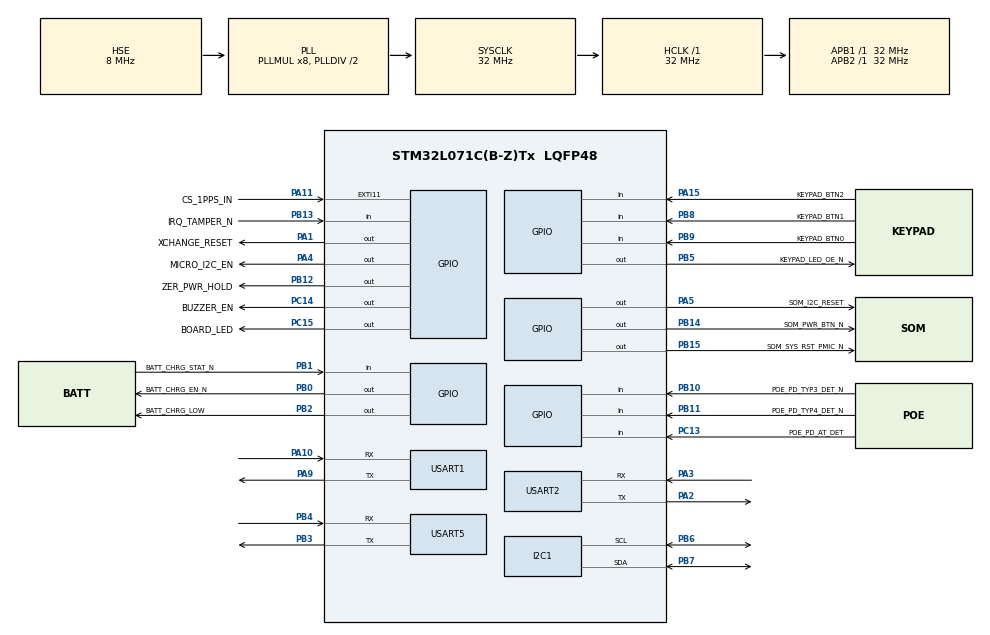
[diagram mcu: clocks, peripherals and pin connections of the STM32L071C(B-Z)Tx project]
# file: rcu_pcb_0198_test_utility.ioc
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ADC.ClockPrescaler=ADC_CLOCK_SYNC_PCLK_DIV4
ADC.ContinuousConvMode=DISABLE
ADC.DiscontinuousConvMode=DISABLE
ADC.EOCSelection=ADC_EOC_SINGLE_CONV
ADC.SamplingTime=ADC_SAMPLETIME_160CYCLES_5
ADC.ScanConvMode=ADC_SCAN_DIRECTION_FORWARD
FREERTOS.Queues01=serialCmdTaskRxData,128,uint32_t,0,Dynamic,NULL,NULL;serialCmdTaskTxData,512,uint32_t,0,Dynamic,NULL,NULL;serialRxEvent,128,uint32_t,0,Dynamic,NULL,NULL;serialEchoTaskRxData1,128,uint32_t,0,Dynamic,NULL,NULL;serialEchoTaskTxData1,8,uint32_t,0,Dynamic,NULL,NULL;serialEchoTaskRxData2,16,uint32_t,0,Dynamic,NULL,NULL;serialEchoTaskTxData2,128,uint32_t,0,Dynamic,NULL,NULL
FREERTOS.Tasks01=defaultTask,0,128,StartDefaultTask,Default,NULL,Dynamic,NULL,NULL;serialBufferTask,0,256,sbt_SerialBufferTask,As external,NULL,Dynamic,NULL,NULL;serialCmdTask,0,513,sct_SerialCmdTask,As external,NULL,Dynamic,NULL,NULL;serialEchoTask,-2,236,set_SerialEchoTask,As external,NULL,Dynamic,NULL,NULL
FREERTOS.configMAX_TASK_NAME_LEN=32
FREERTOS.configTOTAL_HEAP_SIZE=12000
I2C1.Timing=0x00707CBB
Mcu.Family=STM32L0
Mcu.Name=STM32L071C(B-Z)Tx
Mcu.Package=LQFP48
NVIC.EXTI4_15_IRQn=true\:3\:0\:true\:false\:true\:false\:true\:true
NVIC.TIM22_IRQn=true\:0\:0\:false\:false\:true\:false\:false\:true
NVIC.TimeBase=TIM22_IRQn
NVIC.TimeBaseIP=TIM22
NVIC.USART1_IRQn=true\:3\:0\:true\:false\:true\:false\:true\:true
NVIC.USART2_IRQn=true\:3\:0\:true\:false\:true\:false\:true\:true
NVIC.USART4_5_IRQn=true\:3\:0\:true\:false\:true\:false\:true\:true
PA1.GPIO_Label=XCHANGE_RESET
PA1.Signal=GPIO_Output
PA10.Mode=Asynchronous
PA10.Signal=USART1_RX
PA11.GPIO_Label=CS_1PPS_IN
PA11.Signal=GPXTI11
PA13.Mode=Serial_Wire
PA13.Signal=SYS_SWDIO
PA14.Mode=Serial_Wire
PA14.Signal=SYS_SWCLK
PA15.GPIO_Label=KEYPAD_BTN2
PA15.Signal=GPIO_Input
PA2.Mode=Asynchronous
PA2.Signal=USART2_TX
PA3.Mode=Asynchronous
PA3.Signal=USART2_RX
PA4.GPIO_Label=MICRO_I2C_EN
PA4.Signal=GPIO_Output
PA5.GPIO_Label=SOM_I2C_RESET
PA5.Signal=GPIO_Output
PA9.Mode=Asynchronous
PA9.Signal=USART1_TX
PB0.GPIO_Label=BATT_CHRG_EN_N
PB0.Signal=GPIO_Output
PB1.GPIO_Label=BATT_CHRG_STAT_N
PB1.Signal=GPIO_Input
PB10.GPIO_Label=POE_PD_TYP3_DET_N
PB10.Signal=GPIO_Input
PB11.GPIO_Label=POE_PD_TYP4_DET_N
PB11.Signal=GPIO_Input
PB12.GPIO_Label=ZER_PWR_HOLD
PB12.Signal=GPIO_Output
PB13.GPIO_Label=IRQ_TAMPER_N
PB13.Signal=GPIO_Input
PB14.GPIO_Label=SOM_PWR_BTN_N
PB14.PinState=GPIO_PIN_RESET
PB14.Signal=GPIO_Output
PB15.GPIO_Label=SOM_SYS_RST_PMIC_N
PB15.PinState=GPIO_PIN_RESET
PB15.Signal=GPIO_Output
PB2.GPIO_Label=BATT_CHRG_LOW
PB2.PinState=GPIO_PIN_SET
PB2.Signal=GPIO_Output
PB3.Mode=Asynchronous
PB3.Signal=USART5_TX
PB4.Mode=Asynchronous
PB4.Signal=USART5_RX
PB5.GPIO_Label=KEYPAD_LED_OE_N
PB5.PinState=GPIO_PIN_SET
PB5.Signal=GPIO_Output
PB6.Mode=I2C
PB6.Signal=I2C1_SCL
PB7.Mode=I2C
PB7.Signal=I2C1_SDA
PB8.GPIO_Label=KEYPAD_BTN1
PB8.Signal=GPIO_Input
PB9.GPIO_Label=KEYPAD_BTN0
PB9.Signal=GPIO_Input
PC13.GPIO_Label=POE_PD_AT_DET
PC13.Signal=GPIO_Input
PC14-OSC32_IN.GPIO_Label=BUZZER_EN
PC14-OSC32_IN.Signal=GPIO_Output
PC15-OSC32_OUT.GPIO_Label=BOARD_LED
PC15-OSC32_OUT.Signal=GPIO_Output
PH0-OSC_IN.Mode=HSE-External-Clock-Source
PH0-OSC_IN.Signal=RCC_OSC_IN
ProjectManager.HeapSize=0x200
ProjectManager.StackSize=0x400
ProjectManager.TargetToolchain=STM32CubeIDE
RCC.AHBFreq_Value=32000000
RCC.APB1Freq_Value=32000000
RCC.APB1TimFreq_Value=32000000
RCC.APB2Freq_Value=32000000
RCC.APB2TimFreq_Value=32000000
RCC.HCLKFreq_Value=32000000
RCC.HSE_VALUE=8000000
RCC.HSI16_VALUE=16000000
RCC.HSI_VALUE=16000000
RCC.LSE_VALUE=32768
RCC.MSI_VALUE=2097000
RCC.PLLMUL=RCC_PLLMUL_8
RCC.PLLSourceVirtual=RCC_PLLSOURCE_HSE
RCC.SYSCLKFreq_VALUE=32000000
RCC.SYSCLKSource=RCC_SYSCLKSOURCE_PLLCLK
RCC.VCOOutputFreq_Value=64000000
USART1.VirtualMode-Asynchronous=VM_ASYNC
USART2.VirtualMode-Asynchronous=VM_ASYNC
USART5.VirtualMode-Asynchronous=VM_ASYNC
VP_ADC_TempSens_Input.Mode=IN-TempSens
VP_ADC_Vref_Input.Mode=IN-Vrefint
VP_FREERTOS_VS_CMSIS_V1.Mode=CMSIS_V1
VP_SYS_VS_tim22.Mode=TIM22
board=custom

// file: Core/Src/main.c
/* USER CODE BEGIN Header */
/**
  ******************************************************************************
  * @file           : main.c
  * @brief          : Main program body
  ******************************************************************************
  * @attention
  *
  * <h2><center>&copy; Copyright (c) 2022 STMicroelectronics.
  * All rights reserved.</center></h2>
  *
  * This software component is licensed by ST under BSD 3-Clause license,
  * the "License"; You may not use this file except in compliance with the
  * License. You may obtain a copy of the License at:
  *                        opensource.org/licenses/BSD-3-Clause
  *
  ******************************************************************************
  */
/* USER CODE END Header */
#include "main.h"
#include "cmsis_os.h"

/* USER CODE BEGIN Includes */
#include <string.h>
#include "serial_buffer_task.h"
#include "serial_cmd_task.h"
#include "serial_echo_task.h"
/* USER CODE END Includes */

ADC_HandleTypeDef hadc;

I2C_HandleTypeDef hi2c1;

UART_HandleTypeDef huart1;
UART_HandleTypeDef huart2;
UART_HandleTypeDef huart5;

osThreadId defaultTaskHandle;
osThreadId serialBufferTaskHandle;
osThreadId serialCmdTaskHandle;
osThreadId serialEchoTaskHandle;
osMessageQId serialCmdTaskRxDataHandle;
osMessageQId serialCmdTaskTxDataHandle;
osMessageQId serialRxEventHandle;
osMessageQId serialEchoTaskRxData1Handle;
osMessageQId serialEchoTaskTxData1Handle;
osMessageQId serialEchoTaskRxData2Handle;
osMessageQId serialEchoTaskTxData2Handle;

void SystemClock_Config(void);
static void MX_GPIO_Init(void);
static void MX_I2C1_Init(void);
static void MX_USART1_UART_Init(void);
static void MX_USART2_UART_Init(void);
static void MX_USART5_UART_Init(void);
static void MX_ADC_Init(void);
void StartDefaultTask(void const * argument);
extern void sbt_SerialBufferTask(void const * argument);
extern void sct_SerialCmdTask(void const * argument);
extern void set_SerialEchoTask(void const * argument);

int main(void)
{
  /* USER CODE BEGIN 1 */
  sct_Init_t sct_init_data;
  sbt_Init_t sbt_init_data;
  set_Init_t set_init_data;
  /* USER CODE END 1 */

  /* MCU Configuration--------------------------------------------------------*/

  /* Reset of all peripherals, Initializes the Flash interface and the Systick. */
  HAL_Init();

  /* Configure the system clock */
  SystemClock_Config();

  /* Initialize all configured peripherals */
  MX_GPIO_Init();
  MX_I2C1_Init();
  MX_USART1_UART_Init();
  MX_USART2_UART_Init();
  MX_USART5_UART_Init();
  MX_ADC_Init();
  /* USER CODE BEGIN 2 */
  /* If either the anti-tamper irq is low set ZER_PWR_HOLD to keep the +3V3_BAT supply enabled */
  if (HAL_GPIO_ReadPin(IRQ_TAMPER_N_GPIO_Port, IRQ_TAMPER_N_Pin) == GPIO_PIN_RESET)
  {
	  HAL_GPIO_WritePin(ZER_PWR_HOLD_GPIO_Port, ZER_PWR_HOLD_Pin, GPIO_PIN_SET);
  }
  /* USER CODE END 2 */

  /* Create the queue(s) */
  /* definition and creation of serialCmdTaskRxData */
  osMessageQDef(serialCmdTaskRxData, 128, uint32_t);
  serialCmdTaskRxDataHandle = osMessageCreate(osMessageQ(serialCmdTaskRxData), NULL);

  /* definition and creation of serialCmdTaskTxData */
  osMessageQDef(serialCmdTaskTxData, 512, uint32_t);
  serialCmdTaskTxDataHandle = osMessageCreate(osMessageQ(serialCmdTaskTxData), NULL);

  /* definition and creation of serialRxEvent */
  osMessageQDef(serialRxEvent, 128, uint32_t);
  serialRxEventHandle = osMessageCreate(osMessageQ(serialRxEvent), NULL);

  /* definition and creation of serialEchoTaskRxData1 */
  osMessageQDef(serialEchoTaskRxData1, 128, uint32_t);
  serialEchoTaskRxData1Handle = osMessageCreate(osMessageQ(serialEchoTaskRxData1), NULL);

  /* definition and creation of serialEchoTaskTxData1 */
  osMessageQDef(serialEchoTaskTxData1, 8, uint32_t);
  serialEchoTaskTxData1Handle = osMessageCreate(osMessageQ(serialEchoTaskTxData1), NULL);

  /* definition and creation of serialEchoTaskRxData2 */
  osMessageQDef(serialEchoTaskRxData2, 16, uint32_t);
  serialEchoTaskRxData2Handle = osMessageCreate(osMessageQ(serialEchoTaskRxData2), NULL);

  /* definition and creation of serialEchoTaskTxData2 */
  osMessageQDef(serialEchoTaskTxData2, 128, uint32_t);
  serialEchoTaskTxData2Handle = osMessageCreate(osMessageQ(serialEchoTaskTxData2), NULL);

  /* Create the thread(s) */
  /* definition and creation of defaultTask */
  osThreadDef(defaultTask, StartDefaultTask, osPriorityNormal, 0, 128);
  defaultTaskHandle = osThreadCreate(osThread(defaultTask), NULL);

  /* definition and creation of serialBufferTask */
  osThreadDef(serialBufferTask, sbt_SerialBufferTask, osPriorityNormal, 0, 256);
  serialBufferTaskHandle = osThreadCreate(osThread(serialBufferTask), NULL);

  /* definition and creation of serialCmdTask */
  osThreadDef(serialCmdTask, sct_SerialCmdTask, osPriorityNormal, 0, 513);
  serialCmdTaskHandle = osThreadCreate(osThread(serialCmdTask), NULL);

  /* definition and creation of serialEchoTask */
  osThreadDef(serialEchoTask, set_SerialEchoTask, osPriorityLow, 0, 236);
  serialEchoTaskHandle = osThreadCreate(osThread(serialEchoTask), NULL);

  /* USER CODE BEGIN RTOS_THREADS */
  /* add threads, ... */
  sbt_init_data.rx_event_queue				= serialRxEventHandle;
  sbt_init_data.no_uarts					= SBT_MAX_NO_UARTS;
  sbt_init_data.uarts[0].huart 				= &huart1;
  sbt_init_data.uarts[0].uart_rx_data_queue	= serialCmdTaskRxDataHandle;
  sbt_init_data.uarts[0].uart_tx_data_queue	= serialCmdTaskTxDataHandle;
  sbt_init_data.uarts[1].huart 				= &huart2;
  sbt_init_data.uarts[1].uart_rx_data_queue	= serialEchoTaskRxData1Handle;
  sbt_init_data.uarts[1].uart_tx_data_queue	= serialEchoTaskTxData1Handle;
  sbt_init_data.uarts[2].huart 				= &huart5;
  sbt_init_data.uarts[2].uart_rx_data_queue	= serialEchoTaskRxData2Handle;
  sbt_init_data.uarts[2].uart_tx_data_queue	= serialEchoTaskTxData2Handle;
  sbt_InitTask(sbt_init_data);

  set_init_data.no_uarts			= SET_MAX_NO_UARTS;
  set_init_data.rx_data_queue[0]	= serialEchoTaskRxData1Handle;
  set_init_data.tx_data_queue[0]	= serialEchoTaskTxData1Handle;
  set_init_data.rx_data_queue[1]	= serialEchoTaskRxData2Handle;
  set_init_data.tx_data_queue[1]	= serialEchoTaskTxData2Handle;
  set_InitTask(set_init_data);

  sct_init_data.tx_data_queue 		= serialCmdTaskTxDataHandle;
  sct_init_data.rx_data_queue 		= serialCmdTaskRxDataHandle;
  sct_init_data.i2c_device0			= &hi2c1;
  sct_init_data.buzzer_gpio_port	= BUZZER_EN_GPIO_Port;
  sct_init_data.buzzer_gpio_pin		= BUZZER_EN_Pin;
  sct_init_data.pps_gpio_pin		= CS_1PPS_IN_Pin;
  sct_init_data.pps_gpio_irq		= EXTI4_15_IRQn;

  sct_init_data.gpi_pins[0].port	= IRQ_TAMPER_N_GPIO_Port;
  sct_init_data.gpi_pins[0].pin		= IRQ_TAMPER_N_Pin;
  strncpy(sct_init_data.gpi_pins[0].name, "IRQ_TAMPER_N", SCT_GPIO_PIN_NAME_MAX_LEN - 1);
  sct_init_data.gpi_pins[1].port	= BATT_CHRG_STAT_N_GPIO_Port;
  sct_init_data.gpi_pins[1].pin		= BATT_CHRG_STAT_N_Pin;
  strncpy(sct_init_data.gpi_pins[1].name, "BATT_CHRG_STAT_N", SCT_GPIO_PIN_NAME_MAX_LEN - 1);
  sct_init_data.gpi_pins[2].port	= POE_PD_AT_DET_GPIO_Port;
  sct_init_data.gpi_pins[2].pin		= POE_PD_AT_DET_Pin;
  strncpy(sct_init_data.gpi_pins[2].name, "POE_PD_AT_DET", SCT_GPIO_PIN_NAME_MAX_LEN - 1);
  sct_init_data.gpi_pins[3].port	= POE_PD_TYP3_DET_N_GPIO_Port;
  sct_init_data.gpi_pins[3].pin		= POE_PD_TYP3_DET_N_Pin;
  strncpy(sct_init_data.gpi_pins[3].name, "POE_PD_TYP3_DET_N", SCT_GPIO_PIN_NAME_MAX_LEN - 1);
  sct_init_data.gpi_pins[4].port	= POE_PD_TYP4_DET_N_GPIO_Port;
  sct_init_data.gpi_pins[4].pin		= POE_PD_TYP4_DET_N_Pin;
  strncpy(sct_init_data.gpi_pins[4].name, "POE_PD_TYP4_DET_N", SCT_GPIO_PIN_NAME_MAX_LEN - 1);
  sct_init_data.gpi_pins[5].port	= KEYPAD_BTN0_GPIO_Port;
  sct_init_data.gpi_pins[5].pin		= KEYPAD_BTN0_Pin;
  strncpy(sct_init_data.gpi_pins[5].name, "KEYPAD_BTN0", SCT_GPIO_PIN_NAME_MAX_LEN - 1);
  sct_init_data.gpi_pins[6].port	= KEYPAD_BTN1_GPIO_Port;
  sct_init_data.gpi_pins[6].pin		= KEYPAD_BTN1_Pin;
  strncpy(sct_init_data.gpi_pins[6].name, "KEYPAD_BTN1", SCT_GPIO_PIN_NAME_MAX_LEN - 1);
  sct_init_data.gpi_pins[7].port	= KEYPAD_BTN2_GPIO_Port;
  sct_init_data.gpi_pins[7].pin		= KEYPAD_BTN2_Pin;
  strncpy(sct_init_data.gpi_pins[7].name, "KEYPAD_BTN2", SCT_GPIO_PIN_NAME_MAX_LEN - 1);

  sct_init_data.gpo_pins[0].port	= ZER_PWR_HOLD_GPIO_Port;
  sct_init_data.gpo_pins[0].pin		= ZER_PWR_HOLD_Pin;
  strncpy(sct_init_data.gpo_pins[0].name, "ZER_PWR_HOLD", SCT_GPIO_PIN_NAME_MAX_LEN - 1);
  sct_init_data.gpo_pins[1].port	= XCHANGE_RESET_GPIO_Port;
  sct_init_data.gpo_pins[1].pin		= XCHANGE_RESET_Pin;
  strncpy(sct_init_data.gpo_pins[1].name, "XCHANGE_RESET", SCT_GPIO_PIN_NAME_MAX_LEN - 1);
  sct_init_data.gpo_pins[2].port	= SOM_PWR_BTN_N_GPIO_Port;
  sct_init_data.gpo_pins[2].pin		= SOM_PWR_BTN_N_Pin;
  strncpy(sct_init_data.gpo_pins[2].name, "SOM_PWR_BTN_N", SCT_GPIO_PIN_NAME_MAX_LEN - 1);
  sct_init_data.gpo_pins[3].port	= SOM_SYS_RST_PMIC_N_GPIO_Port;
  sct_init_data.gpo_pins[3].pin		= SOM_SYS_RST_PMIC_N_Pin;
  strncpy(sct_init_data.gpo_pins[3].name, "SOM_SYS_RST_PMIC_N", SCT_GPIO_PIN_NAME_MAX_LEN - 1);
  sct_init_data.gpo_pins[4].port	= KEYPAD_LED_OE_N_GPIO_Port;
  sct_init_data.gpo_pins[4].pin		= KEYPAD_LED_OE_N_Pin;
  strncpy(sct_init_data.gpo_pins[4].name, "KEYPAD_LED_OE_N", SCT_GPIO_PIN_NAME_MAX_LEN - 1);
  sct_init_data.gpo_pins[5].port	= BATT_CHRG_LOW_GPIO_Port;
  sct_init_data.gpo_pins[2].pin		= BATT_CHRG_LOW_Pin;
  strncpy(sct_init_data.gpo_pins[5].name, "BATT_CHRG_LOW", SCT_GPIO_PIN_NAME_MAX_LEN - 1);
  sct_init_data.gpo_pins[6].port	= BATT_CHRG_EN_N_GPIO_Port;
  sct_init_data.gpo_pins[6].pin		= BATT_CHRG_EN_N_Pin;
  strncpy(sct_init_data.gpo_pins[6].name, "BATT_CHRG_EN_N", SCT_GPIO_PIN_NAME_MAX_LEN - 1);
  sct_init_data.gpo_pins[7].port	= MICRO_I2C_EN_GPIO_Port;
  sct_init_data.gpo_pins[7].pin		= MICRO_I2C_EN_Pin;
  strncpy(sct_init_data.gpo_pins[7].name, "MICRO_I2C_EN", SCT_GPIO_PIN_NAME_MAX_LEN - 1);
  sct_init_data.gpo_pins[8].port	= SOM_I2C_RESET_GPIO_Port;
  sct_init_data.gpo_pins[8].pin		= SOM_I2C_RESET_Pin;
  strncpy(sct_init_data.gpo_pins[8].name, "SOM_I2C_RESET", SCT_GPIO_PIN_NAME_MAX_LEN - 1);

  sct_init_data.adc_device = &hadc;

  sct_InitTask(sct_init_data);
  /* USER CODE END RTOS_THREADS */

  /* Start scheduler */
  osKernelStart();

  /* We should never get here as control is now taken by the scheduler */
  /* Infinite loop */
  while (1)
  {

  }
}

void SystemClock_Config(void)
{
  RCC_OscInitTypeDef RCC_OscInitStruct = {0};
  RCC_ClkInitTypeDef RCC_ClkInitStruct = {0};
  RCC_PeriphCLKInitTypeDef PeriphClkInit = {0};

  /** Configure the main internal regulator output voltage
  */
  __HAL_PWR_VOLTAGESCALING_CONFIG(PWR_REGULATOR_VOLTAGE_SCALE1);
  /** Initializes the RCC Oscillators according to the specified parameters
  * in the RCC_OscInitTypeDef structure.
  */
  RCC_OscInitStruct.OscillatorType = RCC_OSCILLATORTYPE_HSE;
  RCC_OscInitStruct.HSEState = RCC_HSE_BYPASS;
  RCC_OscInitStruct.PLL.PLLState = RCC_PLL_ON;
  RCC_OscInitStruct.PLL.PLLSource = RCC_PLLSOURCE_HSE;
  RCC_OscInitStruct.PLL.PLLMUL = RCC_PLLMUL_8;
  RCC_OscInitStruct.PLL.PLLDIV = RCC_PLLDIV_2;
  if (HAL_RCC_OscConfig(&RCC_OscInitStruct) != HAL_OK)
  {
    Error_Handler();
  }
  /** Initializes the CPU, AHB and APB buses clocks
  */
  RCC_ClkInitStruct.ClockType = RCC_CLOCKTYPE_HCLK|RCC_CLOCKTYPE_SYSCLK
                              |RCC_CLOCKTYPE_PCLK1|RCC_CLOCKTYPE_PCLK2;
  RCC_ClkInitStruct.SYSCLKSource = RCC_SYSCLKSOURCE_PLLCLK;
  RCC_ClkInitStruct.AHBCLKDivider = RCC_SYSCLK_DIV1;
  RCC_ClkInitStruct.APB1CLKDivider = RCC_HCLK_DIV1;
  RCC_ClkInitStruct.APB2CLKDivider = RCC_HCLK_DIV1;

  if (HAL_RCC_ClockConfig(&RCC_ClkInitStruct, FLASH_LATENCY_1) != HAL_OK)
  {
    Error_Handler();
  }
  PeriphClkInit.PeriphClockSelection = RCC_PERIPHCLK_USART1|RCC_PERIPHCLK_USART2
                              |RCC_PERIPHCLK_I2C1;
  PeriphClkInit.Usart1ClockSelection = RCC_USART1CLKSOURCE_PCLK2;
  PeriphClkInit.Usart2ClockSelection = RCC_USART2CLKSOURCE_PCLK1;
  PeriphClkInit.I2c1ClockSelection = RCC_I2C1CLKSOURCE_PCLK1;
  if (HAL_RCCEx_PeriphCLKConfig(&PeriphClkInit) != HAL_OK)
  {
    Error_Handler();
  }
}

static void MX_ADC_Init(void)
{

  ADC_ChannelConfTypeDef sConfig = {0};

  /** Configure the global features of the ADC (Clock, Resolution, Data Alignment and number of conversion)
  */
  hadc.Instance = ADC1;
  hadc.Init.OversamplingMode = DISABLE;
  hadc.Init.ClockPrescaler = ADC_CLOCK_SYNC_PCLK_DIV4;
  hadc.Init.Resolution = ADC_RESOLUTION_12B;
  hadc.Init.SamplingTime = ADC_SAMPLETIME_160CYCLES_5;
  hadc.Init.ScanConvMode = ADC_SCAN_DIRECTION_FORWARD;
  hadc.Init.DataAlign = ADC_DATAALIGN_RIGHT;
  hadc.Init.ContinuousConvMode = DISABLE;
  hadc.Init.DiscontinuousConvMode = DISABLE;
  hadc.Init.ExternalTrigConvEdge = ADC_EXTERNALTRIGCONVEDGE_NONE;
  hadc.Init.ExternalTrigConv = ADC_SOFTWARE_START;
  hadc.Init.DMAContinuousRequests = DISABLE;
  hadc.Init.EOCSelection = ADC_EOC_SINGLE_CONV;
  hadc.Init.Overrun = ADC_OVR_DATA_PRESERVED;
  hadc.Init.LowPowerAutoWait = DISABLE;
  hadc.Init.LowPowerFrequencyMode = DISABLE;
  hadc.Init.LowPowerAutoPowerOff = DISABLE;
  if (HAL_ADC_Init(&hadc) != HAL_OK)
  {
    Error_Handler();
  }
  /** Configure for the selected ADC regular channel to be converted.
  */
  sConfig.Channel = ADC_CHANNEL_TEMPSENSOR;
  sConfig.Rank = ADC_RANK_CHANNEL_NUMBER;
  if (HAL_ADC_ConfigChannel(&hadc, &sConfig) != HAL_OK)
  {
    Error_Handler();
  }
  /** Configure for the selected ADC regular channel to be converted.
  */
  sConfig.Channel = ADC_CHANNEL_VREFINT;
  if (HAL_ADC_ConfigChannel(&hadc, &sConfig) != HAL_OK)
  {
    Error_Handler();
  }
  /* USER CODE BEGIN ADC_Init 2 */
  /* Perform ADC calibration to improve result accuracy */
  HAL_ADCEx_Calibration_Start(&hadc, ADC_SINGLE_ENDED);
  /* USER CODE END ADC_Init 2 */

}

static void MX_I2C1_Init(void)
{

  hi2c1.Instance = I2C1;
  hi2c1.Init.Timing = 0x00707CBB;
  hi2c1.Init.OwnAddress1 = 0;
  hi2c1.Init.AddressingMode = I2C_ADDRESSINGMODE_7BIT;
  hi2c1.Init.DualAddressMode = I2C_DUALADDRESS_DISABLE;
  hi2c1.Init.OwnAddress2 = 0;
  hi2c1.Init.OwnAddress2Masks = I2C_OA2_NOMASK;
  hi2c1.Init.GeneralCallMode = I2C_GENERALCALL_DISABLE;
  hi2c1.Init.NoStretchMode = I2C_NOSTRETCH_DISABLE;
  if (HAL_I2C_Init(&hi2c1) != HAL_OK)
  {
    Error_Handler();
  }
  /** Configure Analogue filter
  */
  if (HAL_I2CEx_ConfigAnalogFilter(&hi2c1, I2C_ANALOGFILTER_ENABLE) != HAL_OK)
  {
    Error_Handler();
  }
  /** Configure Digital filter
  */
  if (HAL_I2CEx_ConfigDigitalFilter(&hi2c1, 0) != HAL_OK)
  {
    Error_Handler();
  }

}

static void MX_USART1_UART_Init(void)
{

  huart1.Instance = USART1;
  huart1.Init.BaudRate = 115200;
  huart1.Init.WordLength = UART_WORDLENGTH_8B;
  huart1.Init.StopBits = UART_STOPBITS_1;
  huart1.Init.Parity = UART_PARITY_NONE;
  huart1.Init.Mode = UART_MODE_TX_RX;
  huart1.Init.HwFlowCtl = UART_HWCONTROL_NONE;
  huart1.Init.OverSampling = UART_OVERSAMPLING_16;
  huart1.Init.OneBitSampling = UART_ONE_BIT_SAMPLE_DISABLE;
  huart1.AdvancedInit.AdvFeatureInit = UART_ADVFEATURE_NO_INIT;
  if (HAL_UART_Init(&huart1) != HAL_OK)
  {
    Error_Handler();
  }

}

static void MX_USART2_UART_Init(void)
{

  huart2.Instance = USART2;
  huart2.Init.BaudRate = 115200;
  huart2.Init.WordLength = UART_WORDLENGTH_8B;
  huart2.Init.StopBits = UART_STOPBITS_1;
  huart2.Init.Parity = UART_PARITY_NONE;
  huart2.Init.Mode = UART_MODE_TX_RX;
  huart2.Init.HwFlowCtl = UART_HWCONTROL_NONE;
  huart2.Init.OverSampling = UART_OVERSAMPLING_16;
  huart2.Init.OneBitSampling = UART_ONE_BIT_SAMPLE_DISABLE;
  huart2.AdvancedInit.AdvFeatureInit = UART_ADVFEATURE_NO_INIT;
  if (HAL_UART_Init(&huart2) != HAL_OK)
  {
    Error_Handler();
  }

}

static void MX_USART5_UART_Init(void)
{

  huart5.Instance = USART5;
  huart5.Init.BaudRate = 115200;
  huart5.Init.WordLength = UART_WORDLENGTH_8B;
  huart5.Init.StopBits = UART_STOPBITS_1;
  huart5.Init.Parity = UART_PARITY_NONE;
  huart5.Init.Mode = UART_MODE_TX_RX;
  huart5.Init.HwFlowCtl = UART_HWCONTROL_NONE;
  huart5.Init.OverSampling = UART_OVERSAMPLING_16;
  huart5.Init.OneBitSampling = UART_ONE_BIT_SAMPLE_DISABLE;
  huart5.AdvancedInit.AdvFeatureInit = UART_ADVFEATURE_NO_INIT;
  if (HAL_UART_Init(&huart5) != HAL_OK)
  {
    Error_Handler();
  }

}

static void MX_GPIO_Init(void)
{
  GPIO_InitTypeDef GPIO_InitStruct = {0};

  /* GPIO Ports Clock Enable */
  __HAL_RCC_GPIOC_CLK_ENABLE();
  __HAL_RCC_GPIOH_CLK_ENABLE();
  __HAL_RCC_GPIOA_CLK_ENABLE();
  __HAL_RCC_GPIOB_CLK_ENABLE();

  /*Configure GPIO pin Output Level */
  HAL_GPIO_WritePin(GPIOC, BUZZER_EN_Pin|BOARD_LED_Pin, GPIO_PIN_RESET);

  /*Configure GPIO pin Output Level */
  HAL_GPIO_WritePin(GPIOA, XCHANGE_RESET_Pin|MICRO_I2C_EN_Pin|SOM_I2C_RESET_Pin, GPIO_PIN_RESET);

  /*Configure GPIO pin Output Level */
  HAL_GPIO_WritePin(GPIOB, BATT_CHRG_EN_N_Pin|ZER_PWR_HOLD_Pin|SOM_PWR_BTN_N_Pin|SOM_SYS_RST_PMIC_N_Pin, GPIO_PIN_RESET);

  /*Configure GPIO pin Output Level */
  HAL_GPIO_WritePin(GPIOB, BATT_CHRG_LOW_Pin|KEYPAD_LED_OE_N_Pin, GPIO_PIN_SET);

  /*Configure GPIO pin : POE_PD_AT_DET_Pin */
  GPIO_InitStruct.Pin = POE_PD_AT_DET_Pin;
  GPIO_InitStruct.Mode = GPIO_MODE_INPUT;
  GPIO_InitStruct.Pull = GPIO_NOPULL;
  HAL_GPIO_Init(POE_PD_AT_DET_GPIO_Port, &GPIO_InitStruct);

  /*Configure GPIO pins : BUZZER_EN_Pin BOARD_LED_Pin */
  GPIO_InitStruct.Pin = BUZZER_EN_Pin|BOARD_LED_Pin;
  GPIO_InitStruct.Mode = GPIO_MODE_OUTPUT_PP;
  GPIO_InitStruct.Pull = GPIO_NOPULL;
  GPIO_InitStruct.Speed = GPIO_SPEED_FREQ_LOW;
  HAL_GPIO_Init(GPIOC, &GPIO_InitStruct);

  /*Configure GPIO pins : XCHANGE_RESET_Pin MICRO_I2C_EN_Pin SOM_I2C_RESET_Pin */
  GPIO_InitStruct.Pin = XCHANGE_RESET_Pin|MICRO_I2C_EN_Pin|SOM_I2C_RESET_Pin;
  GPIO_InitStruct.Mode = GPIO_MODE_OUTPUT_PP;
  GPIO_InitStruct.Pull = GPIO_NOPULL;
  GPIO_InitStruct.Speed = GPIO_SPEED_FREQ_LOW;
  HAL_GPIO_Init(GPIOA, &GPIO_InitStruct);

  /*Configure GPIO pins : BATT_CHRG_EN_N_Pin BATT_CHRG_LOW_Pin ZER_PWR_HOLD_Pin SOM_PWR_BTN_N_Pin
                           SOM_SYS_RST_PMIC_N_Pin KEYPAD_LED_OE_N_Pin */
  GPIO_InitStruct.Pin = BATT_CHRG_EN_N_Pin|BATT_CHRG_LOW_Pin|ZER_PWR_HOLD_Pin|SOM_PWR_BTN_N_Pin
                          |SOM_SYS_RST_PMIC_N_Pin|KEYPAD_LED_OE_N_Pin;
  GPIO_InitStruct.Mode = GPIO_MODE_OUTPUT_PP;
  GPIO_InitStruct.Pull = GPIO_NOPULL;
  GPIO_InitStruct.Speed = GPIO_SPEED_FREQ_LOW;
  HAL_GPIO_Init(GPIOB, &GPIO_InitStruct);

  /*Configure GPIO pins : BATT_CHRG_STAT_N_Pin POE_PD_TYP3_DET_N_Pin POE_PD_TYP4_DET_N_Pin IRQ_TAMPER_N_Pin
                           KEYPAD_BTN1_Pin KEYPAD_BTN0_Pin */
  GPIO_InitStruct.Pin = BATT_CHRG_STAT_N_Pin|POE_PD_TYP3_DET_N_Pin|POE_PD_TYP4_DET_N_Pin|IRQ_TAMPER_N_Pin
                          |KEYPAD_BTN1_Pin|KEYPAD_BTN0_Pin;
  GPIO_InitStruct.Mode = GPIO_MODE_INPUT;
  GPIO_InitStruct.Pull = GPIO_NOPULL;
  HAL_GPIO_Init(GPIOB, &GPIO_InitStruct);

  /*Configure GPIO pin : CS_1PPS_IN_Pin */
  GPIO_InitStruct.Pin = CS_1PPS_IN_Pin;
  GPIO_InitStruct.Mode = GPIO_MODE_IT_RISING;
  GPIO_InitStruct.Pull = GPIO_NOPULL;
  HAL_GPIO_Init(CS_1PPS_IN_GPIO_Port, &GPIO_InitStruct);

  /*Configure GPIO pin : KEYPAD_BTN2_Pin */
  GPIO_InitStruct.Pin = KEYPAD_BTN2_Pin;
  GPIO_InitStruct.Mode = GPIO_MODE_INPUT;
  GPIO_InitStruct.Pull = GPIO_NOPULL;
  HAL_GPIO_Init(KEYPAD_BTN2_GPIO_Port, &GPIO_InitStruct);

  /* EXTI interrupt init*/
  HAL_NVIC_SetPriority(EXTI4_15_IRQn, 3, 0);
  HAL_NVIC_EnableIRQ(EXTI4_15_IRQn);

}

void StartDefaultTask(void const * argument)
{
  /* USER CODE BEGIN 5 */
  /* Infinite loop */
  for(;;)
  {
    osDelay(1000);
	HAL_GPIO_TogglePin(BOARD_LED_GPIO_Port, BOARD_LED_Pin);
  }
  /* USER CODE END 5 */
}

void HAL_TIM_PeriodElapsedCallback(TIM_HandleTypeDef *htim)
{
  if (htim->Instance == TIM22) {
    HAL_IncTick();
  }
}

void Error_Handler(void)
{
}

/************************ (C) COPYRIGHT STMicroelectronics *****END OF FILE****/
